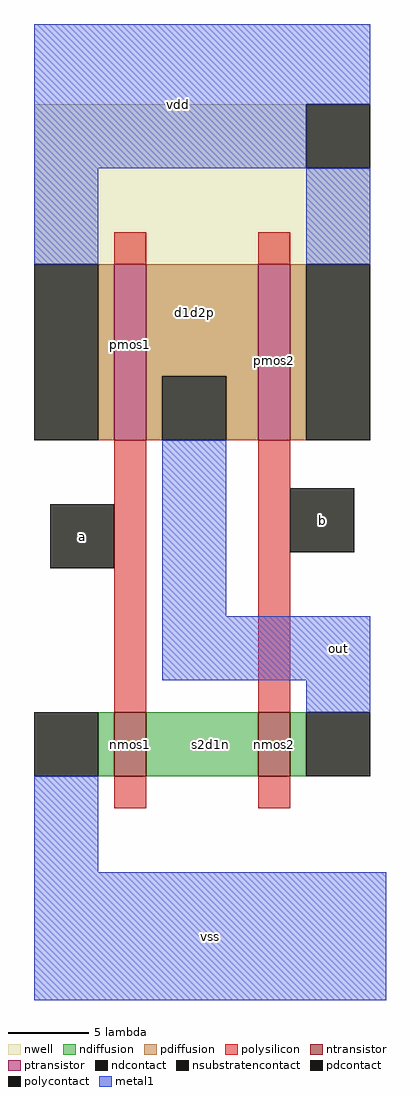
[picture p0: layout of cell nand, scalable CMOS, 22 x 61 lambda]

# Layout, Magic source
magic
tech scmos
<< nwell >>
rect -4 16 17 37
<< polysilicon >>
rect 1 27 3 29
rect 10 27 12 29
rect 1 -1 3 16
rect 10 -1 12 16
rect 1 -7 3 -5
rect 10 -7 12 -5
<< ndiffusion >>
rect 0 -5 1 -1
rect 3 -5 10 -1
rect 12 -5 13 -1
<< pdiffusion >>
rect 0 16 1 27
rect 3 20 10 27
rect 3 16 4 20
rect 8 16 10 20
rect 12 16 13 27
<< metal1 >>
rect -4 37 17 42
rect -4 33 13 37
rect -4 27 0 33
rect 13 27 17 33
rect 4 5 8 16
rect 4 1 17 5
rect 13 -1 17 1
rect -4 -11 0 -5
rect -4 -19 18 -11
<< ntransistor >>
rect 1 -5 3 -1
rect 10 -5 12 -1
<< ptransistor >>
rect 1 16 3 27
rect 10 16 12 27
<< polycontact >>
rect -3 8 1 12
rect 12 9 16 13
<< ndcontact >>
rect -4 -5 0 -1
rect 13 -5 17 -1
<< pdcontact >>
rect -4 16 0 27
rect 4 16 8 20
rect 13 16 17 27
<< nsubstratencontact >>
rect 13 33 17 37
<< labels >>
rlabel metal1 15 3 15 3 7 out
rlabel polycontact -1 10 -1 10 3 a
rlabel polycontact 14 11 14 11 7 b
rlabel metal1 7 -15 7 -15 1 vss
rlabel ntransistor 2 -3 2 -3 1 nmos1
rlabel ntransistor 11 -3 11 -3 1 nmos2
rlabel ndiffusion 7 -3 7 -3 1 s2d1n
rlabel pdiffusion 6 24 6 24 1 d1d2p
rlabel ptransistor 11 21 11 21 1 pmos2
rlabel ptransistor 2 22 2 22 1 pmos1
rlabel metal1 5 37 5 37 5 vdd
<< end >>
